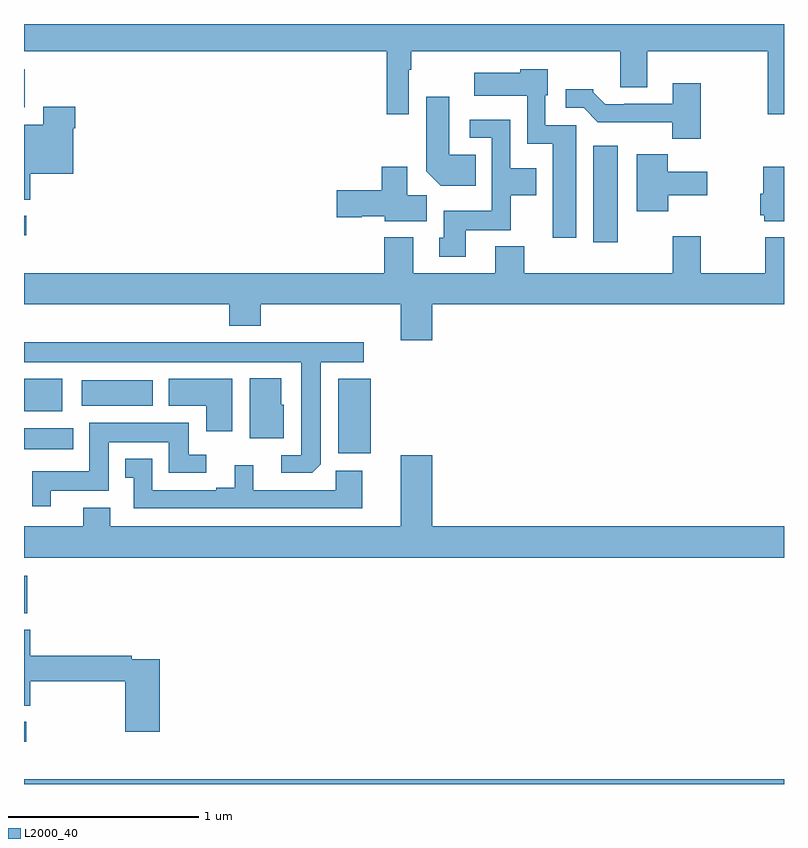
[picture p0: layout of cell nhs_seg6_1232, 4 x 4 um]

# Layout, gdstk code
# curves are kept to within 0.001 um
import gdstk
lib = gdstk.Library(unit=1e-6, precision=1e-09)
def R(c, l, rs):  # rectangles x0, y0, x1, y1
    for r in rs: c.add(gdstk.rectangle(r[:2], r[2:], *l))
def P(c, l, *ps):  # polygons
    for p in ps: c.add(gdstk.Polygon(p, *l))
L2000_40 = (2000, 40)

nhs_seg6_1232 = lib.new_cell('nhs_seg6_1232')
R(nhs_seg6_1232, L2000_40, [(187,923.5,191,923.524), (187,923.723,187.012,923.827), (187,924.398,187.016,924.597), (188.654,925.241,188.825,925.633), (187,925.262,187.258,925.372), (187,925.463,187.201,925.633), (187.305,925.49,187.678,925.624), (189.995,926.352,190.126,926.86), (187,926.387,187.012,926.491), (187,927.062,187.003,927.261)])
P(nhs_seg6_1232, L2000_40, [(189.024,927.26),(189.037,927.26),(189.037,927.356),(190.139,927.356),(190.139,927.166),(190.279,927.166),(190.279,927.356),(190.914,927.356),(190.914,927.024),(191,927.024),(191,927.5),(187,927.5),(187,927.356),(188.908,927.356),(188.908,927.024),(189.024,927.024)],
  [(189.907,926.967),(189.744,926.967),(189.744,927.126),(189.757,927.126),(189.757,927.262),(189.612,927.262),(189.612,927.244),(189.369,927.244),(189.369,927.122),(189.648,927.122),(189.648,926.87),(189.782,926.87),(189.782,926.376),(189.907,926.376)],
  [(190.563,927.187),(190.415,927.187),(190.415,927.081),(190.159,927.081),(190.159,927.078),(190.06,927.078),(189.996,927.142),(189.996,927.157),(189.852,927.157),(189.852,927.06),(189.945,927.06),(190.021,926.984),(190.413,926.984),(190.413,926.897),(190.563,926.897)],
  [(189.377,926.812),(189.238,926.812),(189.238,927.118),(189.116,927.118),(189.116,926.726),(189.194,926.648),(189.377,926.648)],
  [(187.034,926.711),(187.258,926.711),(187.258,926.951),(187.271,926.951),(187.271,927.064),(187.1,927.064),(187.1,926.971),(187,926.971),(187,926.576),(187.034,926.576)],
  [(189.325,926.414),(189.561,926.414),(189.561,926.6),(189.697,926.6),(189.697,926.74),(189.558,926.74),(189.558,926.997),(189.345,926.997),(189.345,926.901),(189.462,926.901),(189.462,926.518),(189.209,926.518),(189.209,926.376),(189.185,926.376),(189.185,926.274),(189.325,926.274)],
  [(190.39,926.6),(190.597,926.6),(190.597,926.722),(190.388,926.722),(190.388,926.815),(190.226,926.815),(190.226,926.514),(190.39,926.514)],
  [(191,926.749),(190.892,926.749),(190.892,926.607),(190.874,926.607),(190.874,926.493),(190.896,926.493),(190.896,926.462),(191,926.462)],
  [(189.121,926.6),(189.016,926.6),(189.016,926.749),(188.882,926.749),(188.882,926.624),(188.646,926.624),(188.646,926.482),(188.778,926.482),(188.778,926.489),(188.898,926.489),(188.898,926.462),(189.121,926.462)],
  [(189.148,926.024),(191,926.024),(191,926.377),(190.9,926.377),(190.9,926.188),(190.563,926.188),(190.563,926.383),(190.415,926.383),(190.415,926.188),(189.632,926.188),(189.632,926.329),(189.479,926.329),(189.479,926.188),(189.049,926.188),(189.049,926.377),(188.897,926.377),(188.897,926.188),(187,926.188),(187,926.024),(188.081,926.024),(188.081,925.913),(188.246,925.913),(188.246,926.024),(188.984,926.024),(188.984,925.836),(189.148,925.836)],
  [(188.562,925.183),(188.563,925.721),(188.788,925.721),(188.788,925.825),(187,925.825),(187,925.721),(188.459,925.721),(188.459,925.23),(188.355,925.23),(188.355,925.137),(188.516,925.137)],
  [(188.368,925.497),(188.353,925.497),(188.353,925.636),(188.189,925.636),(188.189,925.32),(188.368,925.32)],
  [(188.095,925.633),(187.763,925.633),(187.763,925.49),(187.958,925.49),(187.958,925.356),(188.095,925.356)],
  [(187.141,925.043),(187.447,925.043),(187.447,925.298),(187.763,925.298),(187.763,925.137),(187.96,925.137),(187.96,925.233),(187.867,925.233),(187.867,925.402),(187.343,925.402),(187.343,925.147),(187.043,925.147),(187.043,924.963),(187.141,924.963)],
  [(191,924.856),(189.148,924.856),(189.148,925.231),(188.984,925.231),(188.984,924.856),(187.453,924.856),(187.453,924.955),(187.313,924.955),(187.313,924.856),(187,924.856),(187,924.692),(191,924.692)],
  [(188.779,925.15),(188.64,925.15),(188.64,925.047),(188.206,925.047),(188.206,925.177),(188.108,925.177),(188.108,925.06),(188.012,925.06),(188.012,925.047),(187.674,925.047),(187.674,925.213),(187.532,925.213),(187.532,925.113),(187.578,925.113),(187.578,924.951),(188.779,924.951)],
  [(187.715,924.156),(187.568,924.156),(187.568,924.176),(187.034,924.176),(187.034,924.313),(187,924.313),(187,923.912),(187.034,923.912),(187.034,924.04),(187.532,924.04),(187.532,923.775),(187.715,923.775)])

lib.write_gds('nhs_seg6_1232.gds')
